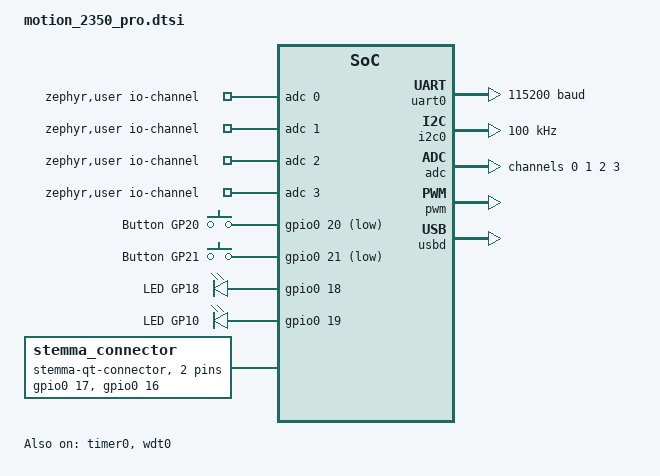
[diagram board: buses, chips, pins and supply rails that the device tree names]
/*
 * Copyright (c) 2025 Stephano Cetola
 * Copyright (c) 2025 Jonas Berg
 *
 * SPDX-License-Identifier: Apache-2.0
 */
#include <freq.h>

#include <zephyr/dt-bindings/i2c/i2c.h>
#include <zephyr/dt-bindings/input/input-event-codes.h>
#include <zephyr/dt-bindings/led/led.h>
#include <zephyr/dt-bindings/pinctrl/rpi-pico-rp2350a-pinctrl.h>
#include <zephyr/dt-bindings/pwm/pwm.h>
#include "motion_2350_pro-pinctrl.dtsi"

/ {
	chosen {
		zephyr,sram = &sram0;
		zephyr,flash = &flash0;
		zephyr,console = &uart0;
		zephyr,shell-uart = &uart0;
	};

	aliases {
		led-strip = &ws2812;
		led0 = &led_gp18;
		led1 = &led_gp19;
		sw0 = &button_gp20;
		sw1 = &button_gp21;
		watchdog0 = &wdt0;
	};

	zephyr,user {
		io-channels = <&adc 0>, <&adc 1>, <&adc 2>, <&adc 3>;
	};

	gpio_keys {
		compatible = "gpio-keys";

		button_gp20: button_gp20 {
			label = "Button GP20";
			gpios = <&gpio0 20 (GPIO_ACTIVE_LOW | GPIO_PULL_UP)>;
			zephyr,code = <INPUT_KEY_0>;
		};

		button_gp21: button_gp21 {
			label = "Button GP21";
			gpios = <&gpio0 21 (GPIO_ACTIVE_LOW | GPIO_PULL_UP)>;
			zephyr,code = <INPUT_KEY_1>;
		};
	};

	leds: leds {
		compatible = "gpio-leds";

		led_gp18: led_gp18 {
			gpios = <&gpio0 18 GPIO_ACTIVE_HIGH>;
			label = "LED GP18";
		};

		led_gp19: led_gp19 {
			gpios = <&gpio0 19 GPIO_ACTIVE_HIGH>;
			label = "LED GP10";
		};
	};

	stemma_connector: stemma_connector {
		compatible = "stemma-qt-connector";
		#gpio-cells = <2>;
		gpio-map-mask = <0xffffffff 0xffffffc0>;
		gpio-map-pass-thru = <0 0x3f>;
		gpio-map = <0 0 &gpio0 17 0>, /* SCL */
			   <1 0 &gpio0 16 0>; /* SDA */
	};
};

&flash0 {
	reg = <0x10000000 DT_SIZE_M(2)>;
};

&gpio0 {
	status = "okay";
};

&uart0 {
	status = "okay";
	current-speed = <115200>;
	pinctrl-0 = <&uart0_default>;
	pinctrl-names = "default";
};

zephyr_i2c: &i2c0 {
	status = "okay";
	pinctrl-0 = <&i2c0_default>;
	pinctrl-names = "default";
	clock-frequency = <I2C_BITRATE_STANDARD>;
};

&adc {
	status = "okay";
	pinctrl-0 = <&adc_default>;
	pinctrl-names = "default";
	#address-cells = <1>;
	#size-cells = <0>;

	channel@0 {
		reg = <0>;
		zephyr,gain = "ADC_GAIN_1";
		zephyr,reference = "ADC_REF_INTERNAL";
		zephyr,acquisition-time = <ADC_ACQ_TIME_DEFAULT>;
		zephyr,resolution = <12>;
	};

	channel@1 {
		reg = <1>;
		zephyr,gain = "ADC_GAIN_1";
		zephyr,reference = "ADC_REF_INTERNAL";
		zephyr,acquisition-time = <ADC_ACQ_TIME_DEFAULT>;
		zephyr,resolution = <12>;
	};

	channel@2 {
		reg = <2>;
		zephyr,gain = "ADC_GAIN_1";
		zephyr,reference = "ADC_REF_INTERNAL";
		zephyr,acquisition-time = <ADC_ACQ_TIME_DEFAULT>;
		zephyr,resolution = <12>;
	};

	channel@3 {
		reg = <3>;
		zephyr,gain = "ADC_GAIN_1";
		zephyr,reference = "ADC_REF_INTERNAL";
		zephyr,acquisition-time = <ADC_ACQ_TIME_DEFAULT>;
		zephyr,resolution = <12>;
	};
};

&pio0 {
	status = "okay";

	pio-ws2812 {
		compatible = "worldsemi,ws2812-rpi_pico-pio";
		status = "okay";
		pinctrl-0 = <&ws2812_pio0_default>;
		pinctrl-names = "default";
		bit-waveform = <3>, <3>, <4>;

		ws2812: ws2812 {
			status = "okay";
			gpios = <&gpio0 23 GPIO_ACTIVE_HIGH>;
			chain-length = <2>;
			color-mapping = <LED_COLOR_ID_RED
					 LED_COLOR_ID_GREEN
					 LED_COLOR_ID_BLUE>;
			reset-delay = <280>;
			frequency = <DT_FREQ_K(800)>;
		};
	};
};

&pwm {
	status = "okay";
	pinctrl-0 = <&pwm_default>;
	pinctrl-names = "default";
	divider-int-0 = <255>;
};

&timer0 {
	status = "okay";
};

&wdt0 {
	status = "okay";
};

zephyr_udc0: &usbd {
	status = "okay";
};
